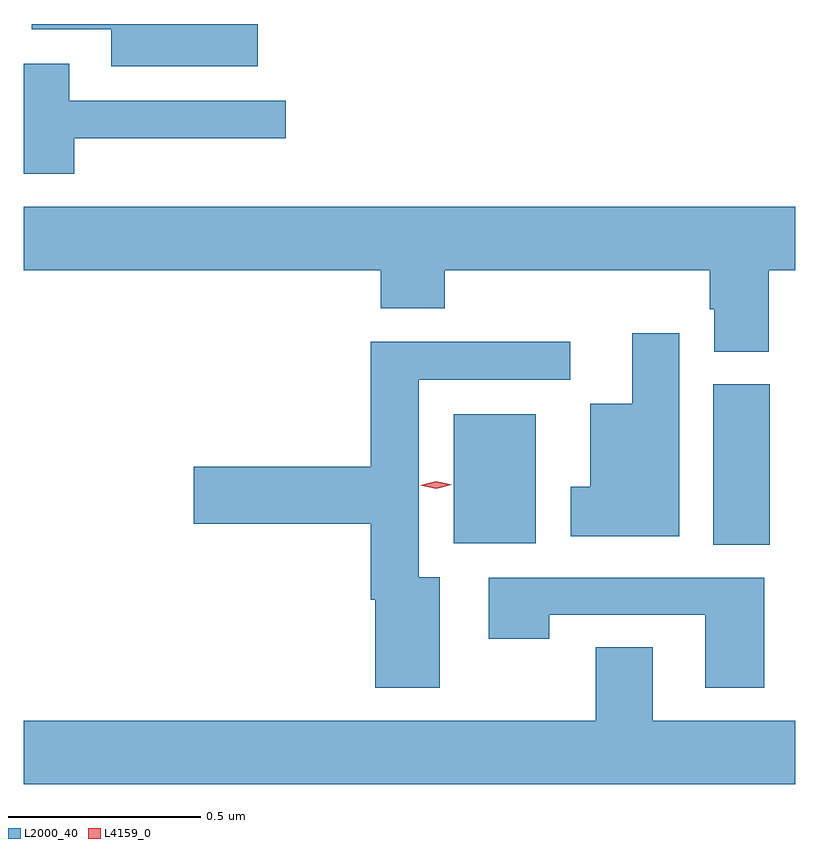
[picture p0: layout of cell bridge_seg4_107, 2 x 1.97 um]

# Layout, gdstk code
import gdstk
lib = gdstk.Library(unit=1e-6, precision=1e-09)
def R(c, l, rs):  # rectangles x0, y0, x1, y1
    for r in rs: c.add(gdstk.rectangle(r[:2], r[2:], *l))
def P(c, l, *ps):  # polygons
    for p in ps: c.add(gdstk.Polygon(p, *l))
L2000_40 = (2000, 40)
L4159_0 = (4159, 0)

bridge_seg4_107 = lib.new_cell('bridge_seg4_107')
R(bridge_seg4_107, L2000_40, [(538.976,766.804,539.123,767.22), (538.304,766.808,538.516,767.143)])
P(bridge_seg4_107, L2000_40, [(537.796,768.154),(537.21,768.154),(537.21,768.141),(537.416,768.141),(537.416,768.044),(537.796,768.044)],
  [(537.32,767.858),(537.868,767.858),(537.868,767.955),(537.307,767.955),(537.307,768.051),(537.189,768.051),(537.189,767.766),(537.32,767.766)],
  [(539.12,767.516),(539.189,767.516),(539.189,767.68),(537.189,767.68),(537.189,767.516),(538.115,767.516),(538.115,767.417),(538.28,767.417),(538.28,767.516),(538.967,767.516),(538.967,767.415),(538.979,767.415),(538.979,767.305),(539.12,767.305)],
  [(538.888,767.353),(538.766,767.353),(538.766,767.17),(538.658,767.17),(538.658,766.954),(538.607,766.954),(538.607,766.826),(538.888,766.826)],
  [(538.267,766.72),(538.213,766.72),(538.213,767.232),(538.606,767.232),(538.606,767.33),(538.088,767.33),(538.088,767.006),(537.63,767.006),(537.63,766.859),(538.088,766.859),(538.088,766.661),(538.1,766.661),(538.1,766.434),(538.267,766.434)],
  [(539.108,766.719),(538.395,766.719),(538.395,766.56),(538.551,766.56),(538.551,766.623),(538.955,766.623),(538.955,766.434),(539.108,766.434)],
  [(539.189,766.348),(538.819,766.348),(538.819,766.538),(538.672,766.538),(538.672,766.348),(537.189,766.348),(537.189,766.184),(539.189,766.184)])
P(bridge_seg4_107, L4159_0, [(538.258,766.949),(538.217,766.959),(538.217,766.959),(538.217,766.959),(538.258,766.969),(538.299,766.96),(538.299,766.96),(538.299,766.96)])

lib.write_gds('bridge_seg4_107.gds')
